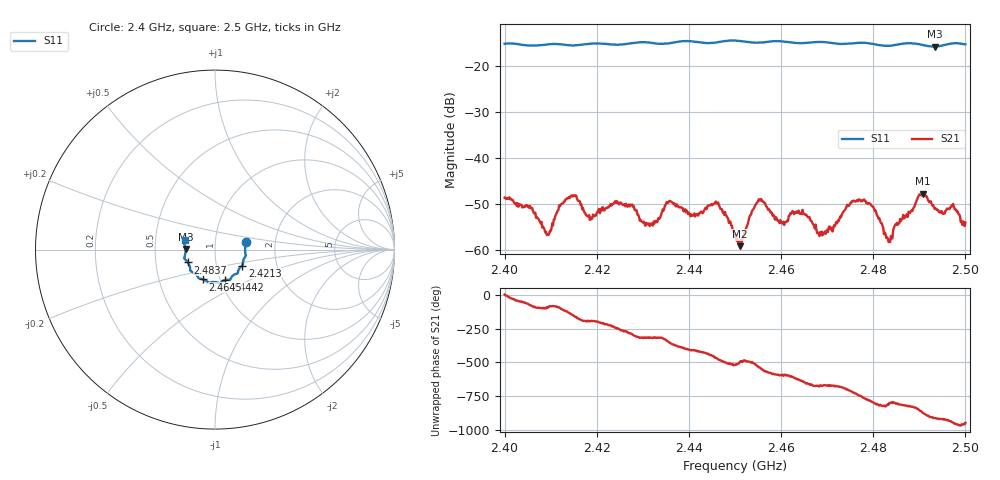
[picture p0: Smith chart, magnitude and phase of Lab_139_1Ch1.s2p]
# Hz S RI R 50
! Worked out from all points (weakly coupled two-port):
!   601 points, 2.4 GHz to 2.5 GHz, reference 50 ohm
!   highest |S21| = -47.80 dB at 2.4908 GHz (marker M1); lowest = -59.3 dB at 2.451 GHz (marker M2)
!   lowest |S11| = -15.7 dB at 2.4933 GHz (marker M3), VSWR 1.39, Z = 35.9 + j0.0985 ohm
!   |S11| at or under -10 dB: start of sweep to end of sweep
!   S12 and S22 are empty: the file has one direction only
!   S11 on the Smith chart (normalised r, x): 2.4 GHz: 1.41, +0.12; 2.4213 GHz: 1.33, -0.25; 2.4442 GHz: 1.05, -0.37; 2.4645 GHz: 0.83, -0.29; 2.4837 GHz: 0.73, -0.11; 2.5 GHz: 0.71, +0.07
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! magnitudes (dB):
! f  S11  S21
! 2.4 GHz  -15.1  -48.7
! 2.4093 GHz  -15.2  -56.8
! 2.4135 GHz  -15.4  -48.8
! 2.4167 GHz  -15.3  -50.2
! 2.4213 GHz  -15.1  -50.8
! 2.4333 GHz  -15.1  -53.2
! 2.4357 GHz  -15.0  -49.5
! 2.4442 GHz  -15.0  -50.4
! 2.4463 GHz  -14.8  -49.7
! 2.45 GHz  -14.4  -57.2
! 2.451 GHz  -14.5  -59.3
! 2.4553 GHz  -14.9  -49.2
! 2.4602 GHz  -14.6  -54.2
! 2.4645 GHz  -15.0  -52.3
! 2.4667 GHz  -14.8  -53.9
! 2.4692 GHz  -14.7  -56.5
! 2.4778 GHz  -14.9  -49.3
! 2.4833 GHz  -15.6  -58.4
! 2.4837 GHz  -15.5  -58.4
! 2.4908 GHz  -15.4  -47.8
! 2.4933 GHz  -15.7  -51.1
! 2.5 GHz  -15.2  -54.1
